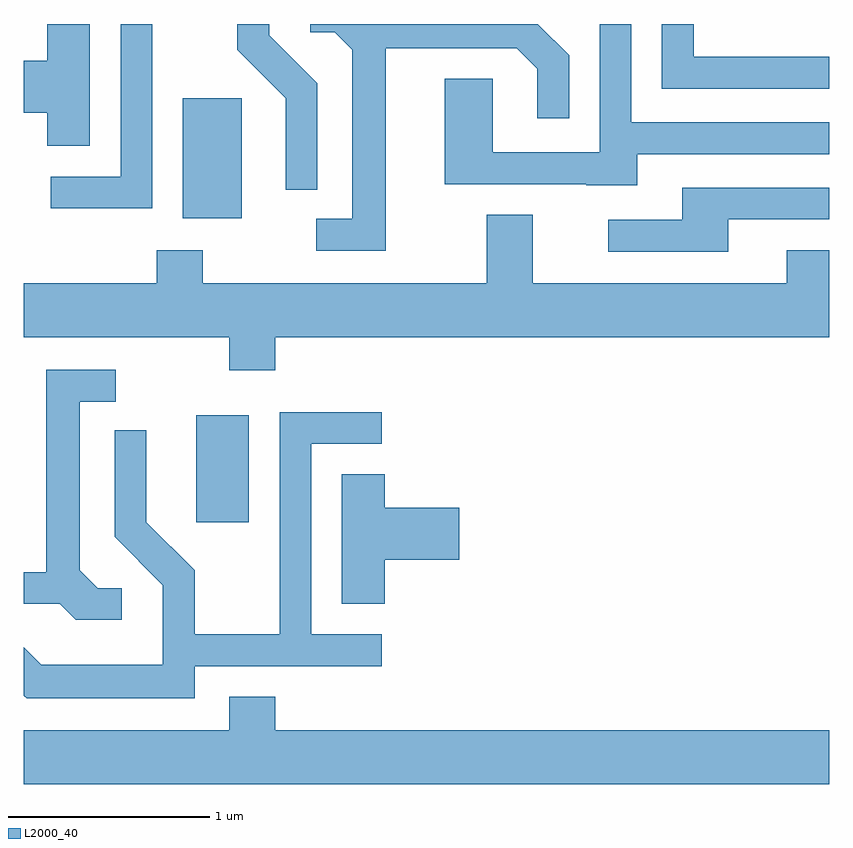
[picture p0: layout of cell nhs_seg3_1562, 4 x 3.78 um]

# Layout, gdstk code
import gdstk
lib = gdstk.Library(unit=1e-6, precision=1e-09)
def R(c, l, rs):  # rectangles x0, y0, x1, y1
    for r in rs: c.add(gdstk.rectangle(r[:2], r[2:], *l))
def P(c, l, *ps):  # polygons
    for p in ps: c.add(gdstk.Polygon(p, *l))
L2000_40 = (2000, 40)

nhs_seg3_1562 = lib.new_cell('nhs_seg3_1562')
R(nhs_seg3_1562, L2000_40, [(230.466,1249.416,230.729,1249.949), (230.401,1250.926,230.694,1251.524)])
P(nhs_seg3_1562, L2000_40, [(229.939,1251.892),(229.726,1251.892),(229.726,1251.709),(229.611,1251.709),(229.611,1251.451),(229.726,1251.451),(229.726,1251.286),(229.939,1251.286)],
  [(233.611,1251.729),(232.939,1251.729),(232.939,1251.892),(232.781,1251.892),(232.781,1251.571),(233.611,1251.571)],
  [(231.069,1251.597),(230.829,1251.837),(230.829,1251.892),(230.671,1251.892),(230.671,1251.764),(230.911,1251.524),(230.911,1251.068),(231.069,1251.068)],
  [(231.409,1251.771),(232.059,1251.771),(232.161,1251.669),(232.161,1251.423),(232.319,1251.423),(232.319,1251.737),(232.164,1251.892),(231.033,1251.892),(231.033,1251.851),(231.154,1251.851),(231.241,1251.764),(231.241,1250.924),(231.063,1250.924),(231.063,1250.766),(231.409,1250.766)],
  [(232.659,1251.246),(233.611,1251.246),(233.611,1251.404),(232.629,1251.404),(232.629,1251.892),(232.471,1251.892),(232.471,1251.254),(231.939,1251.254),(231.939,1251.619),(231.701,1251.619),(231.701,1251.096),(232.405,1251.096),(232.405,1251.091),(232.659,1251.091)],
  [(230.249,1251.892),(230.091,1251.892),(230.091,1251.134),(229.743,1251.134),(229.743,1250.976),(230.249,1250.976)],
  [(233.109,1250.921),(233.611,1250.921),(233.611,1251.079),(232.881,1251.079),(232.881,1250.919),(232.513,1250.919),(232.513,1250.761),(233.109,1250.761)],
  [(230.859,1250.336),(233.611,1250.336),(233.611,1250.769),(233.401,1250.769),(233.401,1250.604),(232.139,1250.604),(232.139,1250.944),(231.911,1250.944),(231.911,1250.604),(230.499,1250.604),(230.499,1250.769),(230.271,1250.769),(230.271,1250.604),(229.611,1250.604),(229.611,1250.336),(230.631,1250.336),(230.631,1250.171),(230.859,1250.171)],
  [(230.098,1249.089),(229.977,1249.089),(229.889,1249.177),(229.889,1250.016),(230.068,1250.016),(230.068,1250.174),(229.721,1250.174),(229.721,1249.169),(229.611,1249.169),(229.611,1249.011),(229.789,1249.011),(229.869,1248.931),(230.098,1248.931)],
  [(230.459,1248.701),(231.388,1248.701),(231.388,1248.859),(231.039,1248.859),(231.039,1249.806),(231.388,1249.806),(231.388,1249.964),(230.881,1249.964),(230.881,1248.859),(230.459,1248.859),(230.459,1249.177),(230.219,1249.417),(230.219,1249.873),(230.061,1249.873),(230.061,1249.344),(230.301,1249.104),(230.301,1248.709),(229.697,1248.709),(229.611,1248.795),(229.611,1248.554),(229.624,1248.541),(230.459,1248.541)],
  [(231.404,1249.231),(231.774,1249.231),(231.774,1249.489),(231.404,1249.489),(231.404,1249.654),(231.191,1249.654),(231.191,1249.011),(231.404,1249.011)],
  [(233.611,1248.384),(230.859,1248.384),(230.859,1248.549),(230.631,1248.549),(230.631,1248.384),(229.611,1248.384),(229.611,1248.116),(233.611,1248.116)])

lib.write_gds('nhs_seg3_1562.gds')
